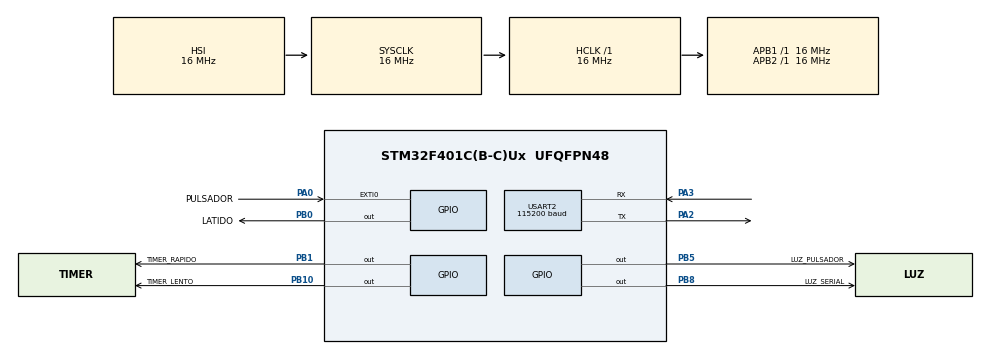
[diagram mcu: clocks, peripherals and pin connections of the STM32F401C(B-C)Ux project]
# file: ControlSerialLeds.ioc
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Dma.Request0=USART2_RX
Dma.USART2_RX.0.Direction=DMA_PERIPH_TO_MEMORY
Dma.USART2_RX.0.FIFOMode=DMA_FIFOMODE_DISABLE
Dma.USART2_RX.0.Instance=DMA1_Stream5
Dma.USART2_RX.0.MemDataAlignment=DMA_MDATAALIGN_BYTE
Dma.USART2_RX.0.MemInc=DMA_MINC_ENABLE
Dma.USART2_RX.0.Mode=DMA_NORMAL
Dma.USART2_RX.0.PeriphDataAlignment=DMA_PDATAALIGN_BYTE
Dma.USART2_RX.0.PeriphInc=DMA_PINC_DISABLE
Dma.USART2_RX.0.Priority=DMA_PRIORITY_MEDIUM
Mcu.Family=STM32F4
Mcu.Name=STM32F401C(B-C)Ux
Mcu.Package=UFQFPN48
NVIC.DMA1_Stream5_IRQn=true\:1\:0\:false\:false\:true\:false\:true\:true
NVIC.EXTI0_IRQn=true\:2\:0\:true\:false\:true\:true\:true\:true
NVIC.PriorityGroup=NVIC_PRIORITYGROUP_2
NVIC.TIM3_IRQn=true\:2\:0\:true\:false\:true\:true\:true\:true
NVIC.USART2_IRQn=true\:1\:0\:true\:false\:true\:true\:true\:true
PA0-WKUP.GPIO_Label=PULSADOR
PA0-WKUP.GPIO_ModeDefaultEXTI=GPIO_MODE_IT_FALLING
PA0-WKUP.GPIO_PuPd=GPIO_PULLUP
PA0-WKUP.Signal=GPXTI0
PA2.Mode=Asynchronous
PA2.Signal=USART2_TX
PA3.Mode=Asynchronous
PA3.Signal=USART2_RX
PB0.GPIO_Label=LATIDO
PB0.Signal=GPIO_Output
PB1.GPIO_Label=TIMER_RAPIDO
PB1.Signal=GPIO_Output
PB10.GPIO_Label=TIMER_LENTO
PB10.Signal=GPIO_Output
PB5.GPIO_Label=LUZ_PULSADOR
PB5.Signal=GPIO_Output
PB8.GPIO_Label=LUZ_SERIAL
PB8.Signal=GPIO_Output
TIM3.AutoReloadPreload=TIM_AUTORELOAD_PRELOAD_ENABLE
TIM3.Period=250-1
TIM3.Prescaler=16000-1
VP_TIM3_VS_ClockSourceINT.Mode=Internal
USART2.BaudRate=115200
USART2.VirtualMode=VM_ASYNC
ProjectManager.HeapSize=0x200
ProjectManager.StackSize=0x400
ProjectManager.TargetToolchain=CMake
RCC.AHBFreq_Value=16000000
RCC.APB1Freq_Value=16000000
RCC.APB2Freq_Value=16000000
RCC.CortexFreq_Value=16000000
RCC.HSE_VALUE=25000000
RCC.HSI_VALUE=16000000
RCC.LSE_VALUE=32768
RCC.SYSCLKFreq_VALUE=16000000
RCC.VCOOutputFreq_Value=192000000
board=custom

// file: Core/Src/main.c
/* USER CODE BEGIN Header */
/**
  ******************************************************************************
  * @file           : main.c
  * @brief          : ControlSerialLeds
  *
  * Funciones:
  *   - LATIDO        (PB0) : parpadea cada 300 ms en el lazo principal (sin HAL_Delay)
  *   - TIMER_RAPIDO  (PB1) : cambia cada 250 ms por interrupción de TIM3
  *   - TIMER_LENTO   (PB10): cambia cada 2 s (cada 8 interrupciones de TIM3)
  *   - PULSADOR      (PA0) : interrupción EXTI por flanco de bajada (pull-up),
  *                           con antirrebote por software; cambia LUZ_PULSADOR (PB5)
  *   - USART2 (PA2 TX / PA3 RX, 115200 8N1): recepción por DMA + IDLE con la
  *     librería UARTRX. Comandos (no importan mayúsculas/minúsculas):
  *         ENCENDER | APAGAR | CAMBIAR | ESTADO | AYUDA
  *     Se escriben y se termina con Enter. Controlan LUZ_SERIAL (PB8).
  *
  * Reloj: HSI 16 MHz (sin PLL).
  ******************************************************************************
  */
/* USER CODE END Header */
#include "main.h"

/* USER CODE BEGIN Includes */
#include <stdio.h>
#include <string.h>
#include <ctype.h>
#include <stdint.h>
#include "uart.h"
#include "UARTRX.h"
/* USER CODE END Includes */

/* USER CODE BEGIN PTD */
typedef void (*AccionComando)(void);

typedef struct
{
  const char   *texto;    /* palabra que se recibe por el puerto serial */
  AccionComando accion;   /* función que se ejecuta */
} Comando;
/* USER CODE END PTD */

/* USER CODE BEGIN PD */
#define PERIODO_LATIDO_MS      300U
#define TICKS_TIMER_LENTO      8U     /* 8 x 250 ms = 2 s */
#define ANTIRREBOTE_MS         150U
#define TAM_COMANDO            32U
/* USER CODE END PD */

TIM_HandleTypeDef htim3;

UART_HandleTypeDef huart2;
DMA_HandleTypeDef hdma_usart2_rx;

/* USER CODE BEGIN PV */
static uint32_t marcaLatido = 0;
volatile uint8_t  ticksTimer = 0;
volatile uint32_t ultimaPulsacion = 0;
volatile uint32_t totalPulsaciones = 0;
/* USER CODE END PV */

void SystemClock_Config(void);
static void MX_GPIO_Init(void);
static void MX_DMA_Init(void);
static void MX_TIM3_Init(void);
static void MX_USART2_UART_Init(void);
/* USER CODE BEGIN PFP */
static void ActualizarLatido(void);
static void AtenderSerial(void);
static void EjecutarLinea(const char *linea);
static void LimpiarComando(const char *origen, char *destino, size_t tam);
static void CmdEncender(void);
static void CmdApagar(void);
static void CmdCambiar(void);
static void CmdEstado(void);
static void CmdAyuda(void);
/* USER CODE END PFP */

/* USER CODE BEGIN 0 */

/* Tabla de comandos: para agregar uno nuevo basta con una línea más */
static const Comando tablaComandos[] =
{
  { "ENCENDER", CmdEncender },
  { "APAGAR",   CmdApagar   },
  { "CAMBIAR",  CmdCambiar  },
  { "ESTADO",   CmdEstado   },
  { "AYUDA",    CmdAyuda    },
};
#define NUM_COMANDOS (sizeof(tablaComandos) / sizeof(tablaComandos[0]))

static void CmdEncender(void)
{
  HAL_GPIO_WritePin(LUZ_SERIAL_GPIO_Port, LUZ_SERIAL_Pin, GPIO_PIN_SET);
  uartx_write_text(&huart2, "OK: luz serial encendida\r\n");
}

static void CmdApagar(void)
{
  HAL_GPIO_WritePin(LUZ_SERIAL_GPIO_Port, LUZ_SERIAL_Pin, GPIO_PIN_RESET);
  uartx_write_text(&huart2, "OK: luz serial apagada\r\n");
}

static void CmdCambiar(void)
{
  HAL_GPIO_TogglePin(LUZ_SERIAL_GPIO_Port, LUZ_SERIAL_Pin);
  uartx_write_text(&huart2, "OK: luz serial invertida\r\n");
}

static void CmdEstado(void)
{
  char respuesta[64];
  GPIO_PinState estado = HAL_GPIO_ReadPin(LUZ_SERIAL_GPIO_Port, LUZ_SERIAL_Pin);

  snprintf(respuesta, sizeof(respuesta),
           "Luz serial: %s | pulsaciones: %lu\r\n",
           (estado == GPIO_PIN_SET) ? "ENCENDIDA" : "APAGADA",
           (unsigned long)totalPulsaciones);
  uartx_write_text(&huart2, respuesta);
}

static void CmdAyuda(void)
{
  uartx_write_text(&huart2, "Comandos: ENCENDER, APAGAR, CAMBIAR, ESTADO, AYUDA\r\n");
}

/**
  * @brief Copia el texto recibido quitando espacios/saltos de línea de los
  *        extremos y pasándolo a mayúsculas.
  */
static void LimpiarComando(const char *origen, char *destino, size_t tam)
{
  size_t i = 0;

  while ((*origen != '\0') && isspace((unsigned char)*origen))
  {
    origen++;
  }
  while ((*origen != '\0') && (i < (tam - 1U)))
  {
    destino[i++] = (char)toupper((unsigned char)*origen++);
  }
  destino[i] = '\0';

  while ((i > 0U) && isspace((unsigned char)destino[i - 1U]))
  {
    destino[--i] = '\0';
  }
}

/**
  * @brief Busca un comando completo en la tabla y ejecuta su acción.
  */
static void EjecutarLinea(const char *linea)
{
  char comando[TAM_COMANDO];
  uint32_t i;

  LimpiarComando(linea, comando, sizeof(comando));
  if (comando[0] == '\0')
  {
    return;
  }

  for (i = 0; i < NUM_COMANDOS; i++)
  {
    if (strcmp(comando, tablaComandos[i].texto) == 0)
    {
      tablaComandos[i].accion();
      return;
    }
  }
  uartx_write_text(&huart2, "Comando no reconocido. Escriba AYUDA\r\n");
}

/**
  * @brief Junta los caracteres que llegan (pueden llegar de a uno, como en la
  *        Virtual Terminal de Proteus) y ejecuta el comando al recibir Enter.
  */
static void AtenderSerial(void)
{
  static char    linea[TAM_COMANDO];
  static uint8_t largo = 0;
  uint16_t i;

  for (i = 0; (i < UARTRX1.num_datos) && (i < UARTRX1.sizeT); i++)
  {
    char c = (char)UARTRX1.trama_rx[i];

    if ((c == '\r') || (c == '\n'))
    {
      linea[largo] = '\0';
      EjecutarLinea(linea);
      largo = 0;
    }
    else if (largo < (TAM_COMANDO - 1U))
    {
      linea[largo++] = c;
    }
  }
}

static void ActualizarLatido(void)
{
  uint32_t ahora = HAL_GetTick();

  if ((ahora - marcaLatido) >= PERIODO_LATIDO_MS)
  {
    marcaLatido = ahora;
    HAL_GPIO_TogglePin(LATIDO_GPIO_Port, LATIDO_Pin);
  }
}

/**
  * @brief Interrupción de TIM3 (cada 250 ms).
  */
void HAL_TIM_PeriodElapsedCallback(TIM_HandleTypeDef *htim)
{
  if (htim->Instance == TIM3)
  {
    HAL_GPIO_TogglePin(TIMER_RAPIDO_GPIO_Port, TIMER_RAPIDO_Pin);

    ticksTimer++;
    if (ticksTimer >= TICKS_TIMER_LENTO)
    {
      ticksTimer = 0;
      HAL_GPIO_TogglePin(TIMER_LENTO_GPIO_Port, TIMER_LENTO_Pin);
    }
  }
}

/**
  * @brief Interrupción externa del pulsador, con antirrebote por tiempo.
  */
void HAL_GPIO_EXTI_Callback(uint16_t GPIO_Pin)
{
  if (GPIO_Pin == PULSADOR_Pin)
  {
    uint32_t ahora = HAL_GetTick();

    if ((ahora - ultimaPulsacion) >= ANTIRREBOTE_MS)
    {
      ultimaPulsacion = ahora;
      totalPulsaciones++;
      HAL_GPIO_TogglePin(LUZ_PULSADOR_GPIO_Port, LUZ_PULSADOR_Pin);
    }
  }
}

/* USER CODE END 0 */

int main(void)
{

  /* MCU Configuration--------------------------------------------------------*/

  /* Reset of all peripherals, Initializes the Flash interface and the Systick. */
  HAL_Init();

  /* Configure the system clock */
  SystemClock_Config();

  /* Initialize all configured peripherals */
  MX_GPIO_Init();
  MX_DMA_Init();
  MX_TIM3_Init();
  MX_USART2_UART_Init();
  /* USER CODE BEGIN 2 */
  if (HAL_TIM_Base_Start_IT(&htim3) != HAL_OK)
  {
    Error_Handler();
  }
  uartRX_it_idle_dma_init(&UARTRX1);
  marcaLatido = HAL_GetTick();

  uartx_write_text(&huart2, "\r\n== ControlSerialLeds listo ==\r\n");
  CmdAyuda();
  /* USER CODE END 2 */

  /* Infinite loop */
  /* USER CODE BEGIN WHILE */
  while (1)
  {
    ActualizarLatido();

    if (UARTRX1.flag_rx == 1)
    {
      AtenderSerial();
      uartRX_DMA_Re_init(&UARTRX1);
    }
    /* USER CODE END WHILE */

  }
}

void SystemClock_Config(void)
{
  RCC_OscInitTypeDef RCC_OscInitStruct = {0};
  RCC_ClkInitTypeDef RCC_ClkInitStruct = {0};

  /** Configure the main internal regulator output voltage
  */
  __HAL_RCC_PWR_CLK_ENABLE();
  __HAL_PWR_VOLTAGESCALING_CONFIG(PWR_REGULATOR_VOLTAGE_SCALE2);

  /** Initializes the RCC Oscillators according to the specified parameters
  * in the RCC_OscInitTypeDef structure.
  */
  RCC_OscInitStruct.OscillatorType = RCC_OSCILLATORTYPE_HSI;
  RCC_OscInitStruct.HSIState = RCC_HSI_ON;
  RCC_OscInitStruct.HSICalibrationValue = RCC_HSICALIBRATION_DEFAULT;
  RCC_OscInitStruct.PLL.PLLState = RCC_PLL_NONE;
  if (HAL_RCC_OscConfig(&RCC_OscInitStruct) != HAL_OK)
  {
    Error_Handler();
  }

  /** Initializes the CPU, AHB and APB buses clocks
  */
  RCC_ClkInitStruct.ClockType = RCC_CLOCKTYPE_HCLK|RCC_CLOCKTYPE_SYSCLK
                              |RCC_CLOCKTYPE_PCLK1|RCC_CLOCKTYPE_PCLK2;
  RCC_ClkInitStruct.SYSCLKSource = RCC_SYSCLKSOURCE_HSI;
  RCC_ClkInitStruct.AHBCLKDivider = RCC_SYSCLK_DIV1;
  RCC_ClkInitStruct.APB1CLKDivider = RCC_HCLK_DIV1;
  RCC_ClkInitStruct.APB2CLKDivider = RCC_HCLK_DIV1;

  if (HAL_RCC_ClockConfig(&RCC_ClkInitStruct, FLASH_LATENCY_0) != HAL_OK)
  {
    Error_Handler();
  }
}

static void MX_TIM3_Init(void)
{

  TIM_ClockConfigTypeDef sClockSourceConfig = {0};
  TIM_MasterConfigTypeDef sMasterConfig = {0};

  htim3.Instance = TIM3;
  htim3.Init.Prescaler = 16000-1;
  htim3.Init.CounterMode = TIM_COUNTERMODE_UP;
  htim3.Init.Period = 250-1;
  htim3.Init.ClockDivision = TIM_CLOCKDIVISION_DIV1;
  htim3.Init.AutoReloadPreload = TIM_AUTORELOAD_PRELOAD_ENABLE;
  if (HAL_TIM_Base_Init(&htim3) != HAL_OK)
  {
    Error_Handler();
  }
  sClockSourceConfig.ClockSource = TIM_CLOCKSOURCE_INTERNAL;
  if (HAL_TIM_ConfigClockSource(&htim3, &sClockSourceConfig) != HAL_OK)
  {
    Error_Handler();
  }
  sMasterConfig.MasterOutputTrigger = TIM_TRGO_RESET;
  sMasterConfig.MasterSlaveMode = TIM_MASTERSLAVEMODE_DISABLE;
  if (HAL_TIMEx_MasterConfigSynchronization(&htim3, &sMasterConfig) != HAL_OK)
  {
    Error_Handler();
  }

}

static void MX_USART2_UART_Init(void)
{

  huart2.Instance = USART2;
  huart2.Init.BaudRate = 115200;
  huart2.Init.WordLength = UART_WORDLENGTH_8B;
  huart2.Init.StopBits = UART_STOPBITS_1;
  huart2.Init.Parity = UART_PARITY_NONE;
  huart2.Init.Mode = UART_MODE_TX_RX;
  huart2.Init.HwFlowCtl = UART_HWCONTROL_NONE;
  huart2.Init.OverSampling = UART_OVERSAMPLING_16;
  if (HAL_UART_Init(&huart2) != HAL_OK)
  {
    Error_Handler();
  }

}

static void MX_DMA_Init(void)
{

  /* DMA controller clock enable */
  __HAL_RCC_DMA1_CLK_ENABLE();

  /* DMA interrupt init */
  /* DMA1_Stream5_IRQn interrupt configuration */
  HAL_NVIC_SetPriority(DMA1_Stream5_IRQn, 1, 0);
  HAL_NVIC_EnableIRQ(DMA1_Stream5_IRQn);

}

static void MX_GPIO_Init(void)
{
  GPIO_InitTypeDef GPIO_InitStruct = {0};

  /* GPIO Ports Clock Enable */
  __HAL_RCC_GPIOA_CLK_ENABLE();
  __HAL_RCC_GPIOB_CLK_ENABLE();

  /*Configure GPIO pin Output Level */
  HAL_GPIO_WritePin(GPIOB, LATIDO_Pin|TIMER_RAPIDO_Pin|TIMER_LENTO_Pin|LUZ_PULSADOR_Pin
                          |LUZ_SERIAL_Pin, GPIO_PIN_RESET);

  /*Configure GPIO pin : PULSADOR_Pin */
  GPIO_InitStruct.Pin = PULSADOR_Pin;
  GPIO_InitStruct.Mode = GPIO_MODE_IT_FALLING;
  GPIO_InitStruct.Pull = GPIO_PULLUP;
  HAL_GPIO_Init(PULSADOR_GPIO_Port, &GPIO_InitStruct);

  /*Configure GPIO pins : LATIDO_Pin TIMER_RAPIDO_Pin TIMER_LENTO_Pin LUZ_PULSADOR_Pin
                           LUZ_SERIAL_Pin */
  GPIO_InitStruct.Pin = LATIDO_Pin|TIMER_RAPIDO_Pin|TIMER_LENTO_Pin|LUZ_PULSADOR_Pin
                          |LUZ_SERIAL_Pin;
  GPIO_InitStruct.Mode = GPIO_MODE_OUTPUT_PP;
  GPIO_InitStruct.Pull = GPIO_NOPULL;
  GPIO_InitStruct.Speed = GPIO_SPEED_FREQ_LOW;
  HAL_GPIO_Init(GPIOB, &GPIO_InitStruct);

  /* EXTI interrupt init*/
  HAL_NVIC_SetPriority(EXTI0_IRQn, 2, 0);
  HAL_NVIC_EnableIRQ(EXTI0_IRQn);

}

void Error_Handler(void)
{
  __disable_irq();
  while (1)
  {
  }
}
#ifdef USE_FULL_ASSERT
/**
  * @brief  Reports the name of the source file and the source line number
  *         where the assert_param error has occurred.
  * @param  file: pointer to the source file name
  * @param  line: assert_param error line source number
  * @retval None
  */
void assert_failed(uint8_t *file, uint32_t line)
{
  /* USER CODE BEGIN 6 */
  (void)file;
  (void)line;
  /* USER CODE END 6 */
}
#endif /* USE_FULL_ASSERT */
